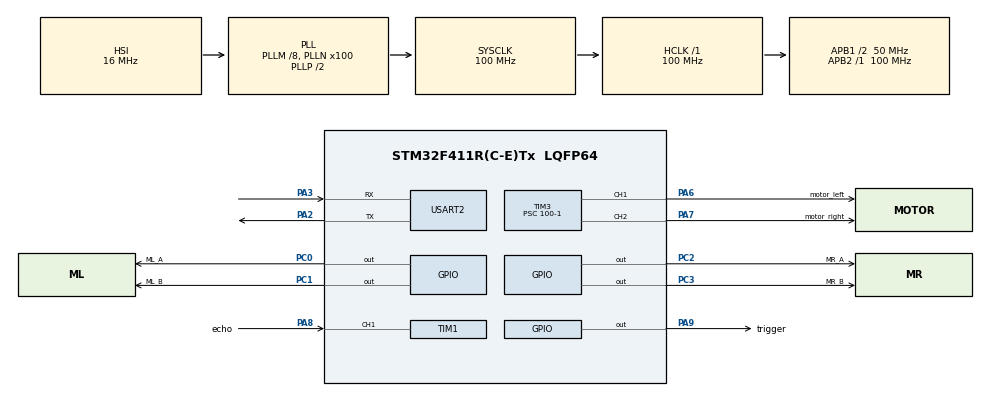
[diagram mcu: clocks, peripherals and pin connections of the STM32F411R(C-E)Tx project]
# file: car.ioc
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Mcu.Family=STM32F4
Mcu.Name=STM32F411R(C-E)Tx
Mcu.Package=LQFP64
NVIC.PriorityGroup=NVIC_PRIORITYGROUP_4
NVIC.TIM1_CC_IRQn=true\:0\:0\:false\:false\:true\:true\:true\:true
NVIC.TIM1_TRG_COM_TIM11_IRQn=true\:0\:0\:false\:false\:true\:true\:true\:true
NVIC.USART2_IRQn=true\:0\:0\:false\:false\:true\:true\:true\:true
PA2.Mode=Asynchronous
PA2.Signal=USART2_TX
PA3.Mode=Asynchronous
PA3.Signal=USART2_RX
PA6.GPIO_Label=motor_left
PA6.Signal=S_TIM3_CH1
PA7.GPIO_Label=motor_right
PA7.Signal=S_TIM3_CH2
PA8.GPIO_Label=echo
PA8.Signal=S_TIM1_CH1
PA9.GPIO_Label=trigger
PA9.Signal=GPIO_Output
PC0.GPIO_Label=ML_A
PC0.Signal=GPIO_Output
PC1.GPIO_Label=ML_B
PC1.Signal=GPIO_Output
PC2.GPIO_Label=MR_A
PC2.Signal=GPIO_Output
PC3.GPIO_Label=MR_B
PC3.Signal=GPIO_Output
ProjectManager.HeapSize=0x200
ProjectManager.StackSize=0x400
ProjectManager.TargetToolchain=STM32CubeIDE
RCC.48MHZClocksFreq_Value=50000000
RCC.AHBFreq_Value=100000000
RCC.APB1CLKDivider=RCC_HCLK_DIV2
RCC.APB1Freq_Value=50000000
RCC.APB1TimFreq_Value=100000000
RCC.APB2Freq_Value=100000000
RCC.APB2TimFreq_Value=100000000
RCC.CortexFreq_Value=100000000
RCC.HCLKFreq_Value=100000000
RCC.HSE_VALUE=25000000
RCC.HSI_VALUE=16000000
RCC.LSE_VALUE=32768
RCC.PLLM=8
RCC.PLLN=100
RCC.SYSCLKFreq_VALUE=100000000
RCC.SYSCLKSource=RCC_SYSCLKSOURCE_PLLCLK
RCC.VCOOutputFreq_Value=200000000
SH.S_TIM1_CH1.0=TIM1_CH1,Input_Capture1_from_TI1
SH.S_TIM3_CH1.0=TIM3_CH1,PWM Generation1 CH1
SH.S_TIM3_CH2.0=TIM3_CH2,PWM Generation2 CH2
TIM1.Channel-Input_Capture1_from_TI1=TIM_CHANNEL_1
TIM1.Prescaler=100-1
TIM11.Prescaler=100-1
TIM3.Channel-PWM\ Generation1\ CH1=TIM_CHANNEL_1
TIM3.Channel-PWM\ Generation2\ CH2=TIM_CHANNEL_2
TIM3.Period=1000-1
TIM3.Prescaler=100-1
USART2.VirtualMode=VM_ASYNC
VP_TIM11_VS_ClockSourceINT.Mode=Enable_Timer
VP_TIM1_VS_ClockSourceINT.Mode=Internal
VP_TIM3_VS_ClockSourceINT.Mode=Internal
board=custom

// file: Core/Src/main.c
/* USER CODE BEGIN Header */
/**
 ******************************************************************************
 * @file           : main.c
 * @brief          : Main program body
 ******************************************************************************
 * @attention
 *
 * Copyright (c) 2024 STMicroelectronics.
 * All rights reserved.
 *
 * This software is licensed under terms that can be found in the LICENSE file
 * in the root directory of this software component.
 * If no LICENSE file comes with this software, it is provided AS-IS.
 *
 ******************************************************************************
 */
/* USER CODE END Header */
#include "main.h"

/* USER CODE BEGIN Includes */
#include "uart.h"
#include <string.h>
/* USER CODE END Includes */

TIM_HandleTypeDef htim1;
TIM_HandleTypeDef htim3;
TIM_HandleTypeDef htim11;

UART_HandleTypeDef huart2;

/* USER CODE BEGIN PV */
typedef enum {
	NONE = 0, FORWARD, BACKWARD, TURNLEFT, TURNRIGHT
} STATUS_T;
/* USER CODE END PV */

void SystemClock_Config(void);
static void MX_GPIO_Init(void);
static void MX_TIM1_Init(void);
static void MX_TIM3_Init(void);
static void MX_TIM11_Init(void);
static void MX_USART2_UART_Init(void);

/* USER CODE BEGIN 0 */
void delayUs(uint16_t time) {
	htim11.Instance->CNT = 0;
	while (htim11.Instance->CNT < time)
		;
}

uint32_t IC_Val1 = 0;
uint32_t IC_Val2 = 0;
uint32_t Difference = 0;
uint8_t IsFirstCaptured = 0;
uint32_t Distance = 0;

void HAL_TIM_IC_CaptureCallback(TIM_HandleTypeDef *htim) {
	if (htim->Channel == HAL_TIM_ACTIVE_CHANNEL_1) {
		//?��?�� ?��?��?��?��
		if (IsFirstCaptured == 0) {
			//???���??? 값을 ?��?��
			IC_Val1 = HAL_TIM_ReadCapturedValue(htim, TIM_CHANNEL_1);
			IsFirstCaptured = 1;
			//?��?�� ?��?��?��?���??? ?��강해?�� 발생?��?���??? ?��?��
			__HAL_TIM_SET_CAPTUREPOLARITY(htim, TIM_CHANNEL_1,
					TIM_INPUTCHANNELPOLARITY_FALLING);
		}
		//?���??? ?��?��?��?��
		else if (IsFirstCaptured == 1) {
			//???���??? 값을 ?��?��
			IC_Val2 = HAL_TIM_ReadCapturedValue(htim, TIM_CHANNEL_1);
			htim->Instance->CNT = 0;
			//2개의 값의 차이�??? 계산
			if (IC_Val2 > IC_Val1)
				Difference = IC_Val2 - IC_Val1;
			else if (IC_Val1 > IC_Val2)
				Difference = (0xffff - IC_Val1) + IC_Val2;
			//공기중의 ?��?��?��?���??? 고려?�� ?��?�� 계산
			Distance = Difference * 0.034 / 2;
			IsFirstCaptured = 0;
			__HAL_TIM_SET_CAPTUREPOLARITY(htim, TIM_CHANNEL_1,
					TIM_INPUTCHANNELPOLARITY_RISING);
			__HAL_TIM_DISABLE_IT(htim, TIM_IT_CC1);
		}
	}
}

uint32_t getDistance() {
	HAL_GPIO_WritePin(trigger_GPIO_Port, trigger_Pin, 1);
	delayUs(10);
	HAL_GPIO_WritePin(trigger_GPIO_Port, trigger_Pin, 0);
	//?��?��?��?�� ?��?��
	__HAL_TIM_ENABLE_IT(&htim1, TIM_IT_CC1);
	return Distance;
}

void goForward(uint8_t percent) {
	HAL_GPIO_WritePin(ML_A_GPIO_Port, ML_A_Pin, 1);
	HAL_GPIO_WritePin(ML_B_GPIO_Port, ML_B_Pin, 0);
	HAL_GPIO_WritePin(MR_A_GPIO_Port, MR_A_Pin, 1);
	HAL_GPIO_WritePin(MR_B_GPIO_Port, MR_B_Pin, 0);
	htim3.Instance->CCR1 = (percent * 10) - 1;
	htim3.Instance->CCR2 = (percent * 10) - 1;

}

void goBackward(uint8_t percent) {
	HAL_GPIO_WritePin(ML_A_GPIO_Port, ML_A_Pin, 0);
	HAL_GPIO_WritePin(ML_B_GPIO_Port, ML_B_Pin, 1);
	HAL_GPIO_WritePin(MR_A_GPIO_Port, MR_A_Pin, 0);
	HAL_GPIO_WritePin(MR_B_GPIO_Port, MR_B_Pin, 1);
	htim3.Instance->CCR1 = (percent * 10) - 1;
	htim3.Instance->CCR2 = (percent * 10) - 1;

}

void turnLeft(uint8_t percent) {
	HAL_GPIO_WritePin(ML_A_GPIO_Port, ML_A_Pin, 1);
	HAL_GPIO_WritePin(ML_B_GPIO_Port, ML_B_Pin, 0);
	HAL_GPIO_WritePin(MR_A_GPIO_Port, MR_A_Pin, 0);
	HAL_GPIO_WritePin(MR_B_GPIO_Port, MR_B_Pin, 0);
	htim3.Instance->CCR1 = (percent * 10) - 1;
	htim3.Instance->CCR2 = (percent * 10) - 1;

}
void turnRight(uint8_t percent) {
	HAL_GPIO_WritePin(ML_A_GPIO_Port, ML_A_Pin, 0);
	HAL_GPIO_WritePin(ML_B_GPIO_Port, ML_B_Pin, 0);
	HAL_GPIO_WritePin(MR_A_GPIO_Port, MR_A_Pin, 1);
	HAL_GPIO_WritePin(MR_B_GPIO_Port, MR_B_Pin, 0);
	htim3.Instance->CCR1 = (percent * 10) - 1;
	htim3.Instance->CCR2 = (percent * 10) - 1;

}

void stopMove() {
	HAL_GPIO_WritePin(ML_A_GPIO_Port, ML_A_Pin, 0);
	HAL_GPIO_WritePin(ML_B_GPIO_Port, ML_B_Pin, 0);
	HAL_GPIO_WritePin(MR_A_GPIO_Port, MR_A_Pin, 0);
	HAL_GPIO_WritePin(MR_B_GPIO_Port, MR_B_Pin, 0);
	htim3.Instance->CCR1 = 0;
	htim3.Instance->CCR2 = 0;

}
/* USER CODE END 0 */

int main(void) {

	/* MCU Configuration--------------------------------------------------------*/

	/* Reset of all peripherals, Initializes the Flash interface and the Systick. */
	HAL_Init();

	/* Configure the system clock */
	SystemClock_Config();

	/* Initialize all configured peripherals */
	MX_GPIO_Init();
	MX_TIM1_Init();
	MX_TIM3_Init();
	MX_TIM11_Init();
	MX_USART2_UART_Init();
	/* USER CODE BEGIN 2 */
	initUart(&huart2);
	HAL_TIM_Base_Start(&htim11);
	HAL_TIM_IC_Start_IT(&htim1, TIM_CHANNEL_1);
	HAL_TIM_PWM_Start(&htim3, TIM_CHANNEL_1);
	HAL_TIM_PWM_Start(&htim3, TIM_CHANNEL_2);
	/* USER CODE END 2 */

	/* Infinite loop */
	/* USER CODE BEGIN WHILE */
	while (1) {
		static int state;
		char *msg;
		int dist = getDistance();
		msg = getMessage();
		if (strncmp(msg, "run", 3) == 0) {
			state = FORWARD;
			goForward(100);
			printf("car is run!\n");
		} else if (strncmp(msg, "back", 4) == 0) {
			state = BACKWARD;
			goBackward(100);

			printf("car is back!\n");
		} else if (strncmp(msg, "stop", 4) == 0) {
			state = NONE;
			stopMove();

			printf("car is stop!\n");
		}
		if (dist < 30 && state == FORWARD) {

			stopMove();
			printf("car is em stop!\n");
		}
		/* USER CODE END WHILE */

	}
}

void SystemClock_Config(void) {
	RCC_OscInitTypeDef RCC_OscInitStruct = { 0 };
	RCC_ClkInitTypeDef RCC_ClkInitStruct = { 0 };

	/** Configure the main internal regulator output voltage
	 */
	__HAL_RCC_PWR_CLK_ENABLE();
	__HAL_PWR_VOLTAGESCALING_CONFIG(PWR_REGULATOR_VOLTAGE_SCALE1);

	/** Initializes the RCC Oscillators according to the specified parameters
	 * in the RCC_OscInitTypeDef structure.
	 */
	RCC_OscInitStruct.OscillatorType = RCC_OSCILLATORTYPE_HSI;
	RCC_OscInitStruct.HSIState = RCC_HSI_ON;
	RCC_OscInitStruct.HSICalibrationValue = RCC_HSICALIBRATION_DEFAULT;
	RCC_OscInitStruct.PLL.PLLState = RCC_PLL_ON;
	RCC_OscInitStruct.PLL.PLLSource = RCC_PLLSOURCE_HSI;
	RCC_OscInitStruct.PLL.PLLM = 8;
	RCC_OscInitStruct.PLL.PLLN = 100;
	RCC_OscInitStruct.PLL.PLLP = RCC_PLLP_DIV2;
	RCC_OscInitStruct.PLL.PLLQ = 4;
	if (HAL_RCC_OscConfig(&RCC_OscInitStruct) != HAL_OK) {
		Error_Handler();
	}

	/** Initializes the CPU, AHB and APB buses clocks
	 */
	RCC_ClkInitStruct.ClockType = RCC_CLOCKTYPE_HCLK | RCC_CLOCKTYPE_SYSCLK
			| RCC_CLOCKTYPE_PCLK1 | RCC_CLOCKTYPE_PCLK2;
	RCC_ClkInitStruct.SYSCLKSource = RCC_SYSCLKSOURCE_PLLCLK;
	RCC_ClkInitStruct.AHBCLKDivider = RCC_SYSCLK_DIV1;
	RCC_ClkInitStruct.APB1CLKDivider = RCC_HCLK_DIV2;
	RCC_ClkInitStruct.APB2CLKDivider = RCC_HCLK_DIV1;

	if (HAL_RCC_ClockConfig(&RCC_ClkInitStruct, FLASH_LATENCY_3) != HAL_OK) {
		Error_Handler();
	}
}

static void MX_TIM1_Init(void) {

	TIM_ClockConfigTypeDef sClockSourceConfig = { 0 };
	TIM_MasterConfigTypeDef sMasterConfig = { 0 };
	TIM_IC_InitTypeDef sConfigIC = { 0 };

	htim1.Instance = TIM1;
	htim1.Init.Prescaler = 100 - 1;
	htim1.Init.CounterMode = TIM_COUNTERMODE_UP;
	htim1.Init.Period = 65535;
	htim1.Init.ClockDivision = TIM_CLOCKDIVISION_DIV1;
	htim1.Init.RepetitionCounter = 0;
	htim1.Init.AutoReloadPreload = TIM_AUTORELOAD_PRELOAD_DISABLE;
	if (HAL_TIM_Base_Init(&htim1) != HAL_OK) {
		Error_Handler();
	}
	sClockSourceConfig.ClockSource = TIM_CLOCKSOURCE_INTERNAL;
	if (HAL_TIM_ConfigClockSource(&htim1, &sClockSourceConfig) != HAL_OK) {
		Error_Handler();
	}
	if (HAL_TIM_IC_Init(&htim1) != HAL_OK) {
		Error_Handler();
	}
	sMasterConfig.MasterOutputTrigger = TIM_TRGO_RESET;
	sMasterConfig.MasterSlaveMode = TIM_MASTERSLAVEMODE_DISABLE;
	if (HAL_TIMEx_MasterConfigSynchronization(&htim1, &sMasterConfig) != HAL_OK) {
		Error_Handler();
	}
	sConfigIC.ICPolarity = TIM_INPUTCHANNELPOLARITY_RISING;
	sConfigIC.ICSelection = TIM_ICSELECTION_DIRECTTI;
	sConfigIC.ICPrescaler = TIM_ICPSC_DIV1;
	sConfigIC.ICFilter = 0;
	if (HAL_TIM_IC_ConfigChannel(&htim1, &sConfigIC, TIM_CHANNEL_1) != HAL_OK) {
		Error_Handler();
	}

}

static void MX_TIM3_Init(void) {

	TIM_ClockConfigTypeDef sClockSourceConfig = { 0 };
	TIM_MasterConfigTypeDef sMasterConfig = { 0 };
	TIM_OC_InitTypeDef sConfigOC = { 0 };

	htim3.Instance = TIM3;
	htim3.Init.Prescaler = 100 - 1;
	htim3.Init.CounterMode = TIM_COUNTERMODE_UP;
	htim3.Init.Period = 1000 - 1;
	htim3.Init.ClockDivision = TIM_CLOCKDIVISION_DIV1;
	htim3.Init.AutoReloadPreload = TIM_AUTORELOAD_PRELOAD_DISABLE;
	if (HAL_TIM_Base_Init(&htim3) != HAL_OK) {
		Error_Handler();
	}
	sClockSourceConfig.ClockSource = TIM_CLOCKSOURCE_INTERNAL;
	if (HAL_TIM_ConfigClockSource(&htim3, &sClockSourceConfig) != HAL_OK) {
		Error_Handler();
	}
	if (HAL_TIM_PWM_Init(&htim3) != HAL_OK) {
		Error_Handler();
	}
	sMasterConfig.MasterOutputTrigger = TIM_TRGO_RESET;
	sMasterConfig.MasterSlaveMode = TIM_MASTERSLAVEMODE_DISABLE;
	if (HAL_TIMEx_MasterConfigSynchronization(&htim3, &sMasterConfig) != HAL_OK) {
		Error_Handler();
	}
	sConfigOC.OCMode = TIM_OCMODE_PWM1;
	sConfigOC.Pulse = 0;
	sConfigOC.OCPolarity = TIM_OCPOLARITY_HIGH;
	sConfigOC.OCFastMode = TIM_OCFAST_DISABLE;
	if (HAL_TIM_PWM_ConfigChannel(&htim3, &sConfigOC, TIM_CHANNEL_1) != HAL_OK) {
		Error_Handler();
	}
	if (HAL_TIM_PWM_ConfigChannel(&htim3, &sConfigOC, TIM_CHANNEL_2) != HAL_OK) {
		Error_Handler();
	}
	HAL_TIM_MspPostInit(&htim3);

}

static void MX_TIM11_Init(void) {

	htim11.Instance = TIM11;
	htim11.Init.Prescaler = 100 - 1;
	htim11.Init.CounterMode = TIM_COUNTERMODE_UP;
	htim11.Init.Period = 65535;
	htim11.Init.ClockDivision = TIM_CLOCKDIVISION_DIV1;
	htim11.Init.AutoReloadPreload = TIM_AUTORELOAD_PRELOAD_DISABLE;
	if (HAL_TIM_Base_Init(&htim11) != HAL_OK) {
		Error_Handler();
	}

}

static void MX_USART2_UART_Init(void) {

	huart2.Instance = USART2;
	huart2.Init.BaudRate = 115200;
	huart2.Init.WordLength = UART_WORDLENGTH_8B;
	huart2.Init.StopBits = UART_STOPBITS_1;
	huart2.Init.Parity = UART_PARITY_NONE;
	huart2.Init.Mode = UART_MODE_TX_RX;
	huart2.Init.HwFlowCtl = UART_HWCONTROL_NONE;
	huart2.Init.OverSampling = UART_OVERSAMPLING_16;
	if (HAL_UART_Init(&huart2) != HAL_OK) {
		Error_Handler();
	}

}

static void MX_GPIO_Init(void) {
	GPIO_InitTypeDef GPIO_InitStruct = { 0 };

	/* GPIO Ports Clock Enable */
	__HAL_RCC_GPIOC_CLK_ENABLE();
	__HAL_RCC_GPIOA_CLK_ENABLE();

	/*Configure GPIO pin Output Level */
	HAL_GPIO_WritePin(GPIOC, ML_A_Pin | ML_B_Pin | MR_A_Pin | MR_B_Pin,
			GPIO_PIN_RESET);

	/*Configure GPIO pin Output Level */
	HAL_GPIO_WritePin(trigger_GPIO_Port, trigger_Pin, GPIO_PIN_RESET);

	/*Configure GPIO pins : ML_A_Pin ML_B_Pin MR_A_Pin MR_B_Pin */
	GPIO_InitStruct.Pin = ML_A_Pin | ML_B_Pin | MR_A_Pin | MR_B_Pin;
	GPIO_InitStruct.Mode = GPIO_MODE_OUTPUT_PP;
	GPIO_InitStruct.Pull = GPIO_NOPULL;
	GPIO_InitStruct.Speed = GPIO_SPEED_FREQ_LOW;
	HAL_GPIO_Init(GPIOC, &GPIO_InitStruct);

	/*Configure GPIO pin : trigger_Pin */
	GPIO_InitStruct.Pin = trigger_Pin;
	GPIO_InitStruct.Mode = GPIO_MODE_OUTPUT_PP;
	GPIO_InitStruct.Pull = GPIO_NOPULL;
	GPIO_InitStruct.Speed = GPIO_SPEED_FREQ_LOW;
	HAL_GPIO_Init(trigger_GPIO_Port, &GPIO_InitStruct);

}

void Error_Handler(void) {
	__disable_irq();
	while (1) {
	}
}
